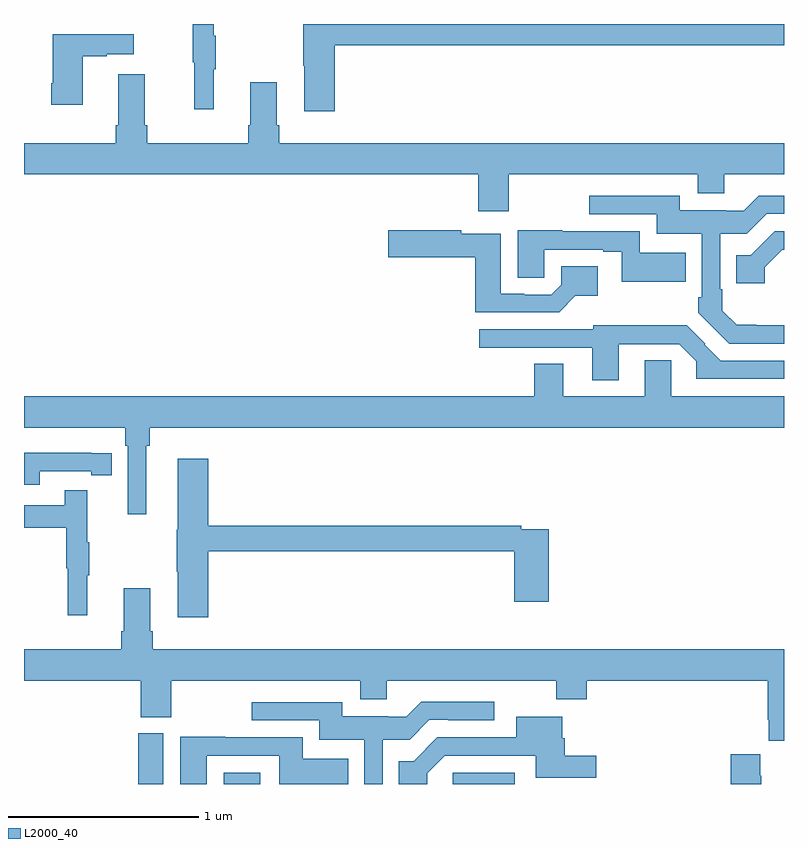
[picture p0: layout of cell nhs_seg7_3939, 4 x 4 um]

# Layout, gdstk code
import gdstk
lib = gdstk.Library(unit=1e-6, precision=1e-09)
def R(c, l, rs):  # rectangles x0, y0, x1, y1
    for r in rs: c.add(gdstk.rectangle(r[:2], r[2:], *l))
def P(c, l, *ps):  # polygons
    for p in ps: c.add(gdstk.Polygon(p, *l))
L2000_40 = (2000, 40)

nhs_seg7_3939 = lib.new_cell('nhs_seg7_3939')
R(nhs_seg7_3939, L2000_40, [(359.6,1072,359.734,1072.267), (360.051,1072,360.244,1072.06), (361.256,1072,361.582,1072.06)])
P(nhs_seg7_3939, L2000_40, [(359.999,1075.763),(360.01,1075.763),(360.01,1075.937),(359.999,1075.937),(359.999,1076),(359.889,1076),(359.889,1075.8),(359.896,1075.8),(359.896,1075.551),(359.999,1075.551)],
  [(360.635,1075.888),(363,1075.888),(363,1076),(360.469,1076),(360.469,1075.78),(360.476,1075.78),(360.476,1075.542),(360.635,1075.542)],
  [(359.308,1075.831),(359.435,1075.831),(359.435,1075.841),(359.578,1075.841),(359.578,1075.945),(359.15,1075.945),(359.15,1075.687),(359.143,1075.687),(359.143,1075.575),(359.308,1075.575)],
  [(361.551,1075.208),(362.546,1075.208),(362.546,1075.109),(362.686,1075.109),(362.686,1075.208),(363,1075.208),(363,1075.372),(360.344,1075.372),(360.344,1075.468),(360.331,1075.468),(360.331,1075.693),(360.191,1075.693),(360.191,1075.468),(360.179,1075.468),(360.179,1075.372),(359.648,1075.372),(359.648,1075.468),(359.635,1075.468),(359.635,1075.735),(359.495,1075.735),(359.495,1075.468),(359.483,1075.468),(359.483,1075.372),(359,1075.372),(359,1075.208),(361.391,1075.208),(361.391,1075.014),(361.551,1075.014)],
  [(363,1074.414),(362.854,1074.414),(362.854,1074.417),(362.75,1074.417),(362.674,1074.492),(362.674,1074.604),(362.664,1074.604),(362.664,1074.897),(362.805,1074.897),(362.91,1075.002),(363,1075.002),(363,1075.096),(362.866,1075.096),(362.787,1075.017),(362.693,1075.017),(362.693,1075.021),(362.452,1075.021),(362.452,1075.095),(361.974,1075.095),(361.974,1074.999),(362.33,1074.999),(362.33,1074.896),(362.568,1074.896),(362.568,1074.562),(362.548,1074.562),(362.548,1074.481),(362.711,1074.318),(363,1074.318)],
  [(361.902,1074.569),(362.02,1074.569),(362.02,1074.724),(361.827,1074.724),(361.827,1074.627),(361.776,1074.576),(361.634,1074.576),(361.634,1074.579),(361.51,1074.579),(361.51,1074.895),(361.302,1074.895),(361.302,1074.915),(360.918,1074.915),(360.918,1074.773),(361.376,1074.773),(361.376,1074.483),(361.816,1074.483)],
  [(362.483,1074.796),(362.241,1074.796),(362.241,1074.909),(361.834,1074.909),(361.834,1074.914),(361.598,1074.914),(361.598,1074.664),(361.737,1074.664),(361.737,1074.813),(362.048,1074.813),(362.048,1074.801),(362.145,1074.801),(362.145,1074.644),(362.483,1074.644)],
  [(362.899,1074.721),(362.991,1074.813),(363,1074.813),(363,1074.909),(362.951,1074.909),(362.826,1074.784),(362.749,1074.784),(362.749,1074.636),(362.899,1074.636)],
  [(362.131,1074.315),(362.448,1074.315),(362.539,1074.225),(362.539,1074.132),(363,1074.132),(363,1074.228),(362.667,1074.228),(362.582,1074.313),(362.585,1074.316),(362.487,1074.414),(361.995,1074.414),(361.995,1074.393),(361.395,1074.393),(361.395,1074.297),(361.991,1074.297),(361.991,1074.126),(362.131,1074.126)],
  [(359.644,1073.78),(359.663,1073.78),(359.663,1073.876),(363,1073.876),(363,1074.04),(362.406,1074.04),(362.406,1074.23),(362.267,1074.23),(362.267,1074.04),(361.837,1074.04),(361.837,1074.212),(361.685,1074.212),(361.685,1074.04),(359,1074.04),(359,1073.876),(359.534,1073.876),(359.534,1073.78),(359.547,1073.78),(359.547,1073.421),(359.644,1073.421)],
  [(359.082,1073.646),(359.354,1073.646),(359.354,1073.626),(359.462,1073.626),(359.462,1073.742),(359.354,1073.742),(359.354,1073.743),(359,1073.743),(359,1073.574),(359.082,1073.574)],
  [(359.969,1073.224),(361.58,1073.224),(361.58,1072.959),(361.763,1072.959),(361.763,1073.34),(361.616,1073.34),(361.616,1073.36),(359.969,1073.36),(359.969,1073.713),(359.81,1073.713),(359.81,1073.337),(359.803,1073.337),(359.803,1073.116),(359.81,1073.116),(359.81,1072.878),(359.969,1072.878)],
  [(359.333,1073.099),(359.344,1073.099),(359.344,1073.273),(359.333,1073.273),(359.333,1073.545),(359.215,1073.545),(359.215,1073.466),(359,1073.466),(359,1073.35),(359.223,1073.35),(359.223,1073.136),(359.23,1073.136),(359.23,1072.887),(359.333,1072.887)],
  [(363,1072.708),(359.678,1072.708),(359.678,1072.804),(359.665,1072.804),(359.665,1073.029),(359.525,1073.029),(359.525,1072.804),(359.513,1072.804),(359.513,1072.708),(359,1072.708),(359,1072.544),(359.615,1072.544),(359.615,1072.352),(359.775,1072.352),(359.775,1072.544),(360.77,1072.544),(360.77,1072.445),(360.91,1072.445),(360.91,1072.544),(361.801,1072.544),(361.801,1072.445),(361.961,1072.445),(361.961,1072.544),(362.915,1072.544),(362.915,1072.339),(362.921,1072.339),(362.921,1072.227),(363,1072.227)],
  [(360.888,1072.233),(361.029,1072.233),(361.134,1072.338),(361.234,1072.338),(361.234,1072.335),(361.474,1072.335),(361.474,1072.432),(361.09,1072.432),(361.011,1072.353),(360.917,1072.353),(360.917,1072.357),(360.676,1072.357),(360.676,1072.431),(360.198,1072.431),(360.198,1072.335),(360.554,1072.335),(360.554,1072.232),(360.792,1072.232),(360.792,1072),(360.888,1072)],
  [(361.123,1072.057),(361.215,1072.149),(361.694,1072.149),(361.694,1072.034),(362.011,1072.034),(362.011,1072.148),(361.847,1072.148),(361.847,1072.242),(361.834,1072.242),(361.834,1072.354),(361.592,1072.354),(361.592,1072.245),(361.175,1072.245),(361.05,1072.12),(360.973,1072.12),(360.973,1072),(361.123,1072)],
  [(359.961,1072.149),(360.344,1072.149),(360.344,1072),(360.707,1072),(360.707,1072.132),(360.466,1072.132),(360.466,1072.245),(360.058,1072.245),(360.058,1072.25),(359.822,1072.25),(359.822,1072),(359.961,1072)],
  [(362.88,1072.043),(362.875,1072.043),(362.875,1072.156),(362.72,1072.156),(362.72,1072),(362.88,1072)])

lib.write_gds('nhs_seg7_3939.gds')
